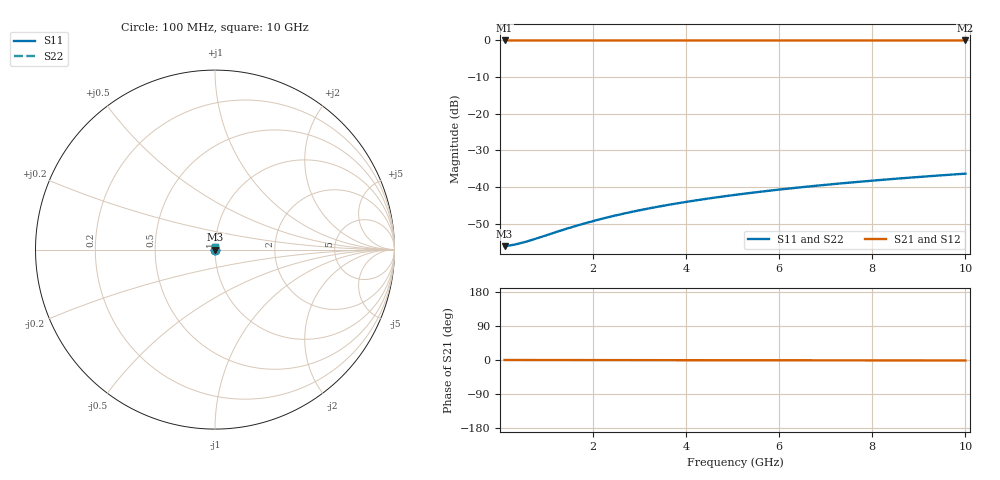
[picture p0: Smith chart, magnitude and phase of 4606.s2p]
# Hz S RI R 50.00
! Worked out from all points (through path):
!   100 points, 100 MHz to 10 GHz, reference 50 ohm
!   highest |S21| = -0.01 dB at 100 MHz (marker M1); lowest = 0.0 dB at 10 GHz (marker M2)
!   lowest |S11| = -56.1 dB at 100 MHz (marker M3), VSWR 1.00, Z = 50.2 + j0.0152 ohm
!   |S11| at or under -10 dB: start of sweep to end of sweep
!   |S22| runs from -56.1 to -36.3 dB; largest |S21 - S12| = 0
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1e8  0.00156 0.000151  0.9984 -0.000219  0.9984 -0.000219  0.00156 0.000151
2e8  0.00157 0.000302  0.9984 -0.000438  0.9984 -0.000438  0.00157 0.000302
3e8  0.00158 0.000453  0.9984 -0.000656  0.9984 -0.000656  0.00158 0.000453
4e8  0.00158 0.000605  0.9984 -0.000875  0.9984 -0.000875  0.00158 0.000605
6e8  0.00159 0.000907  0.9984 -0.00131  0.9984 -0.00131  0.00159 0.000907
8e8  0.0016 0.00121  0.9984 -0.00175  0.9984 -0.00175  0.0016 0.00121
1.4e9  0.00162 0.00212  0.9984 -0.00306  0.9984 -0.00306  0.00162 0.00212
1.8e9  0.00164 0.00272  0.9984 -0.00394  0.9984 -0.00394  0.00164 0.00272
2.2e9  0.00165 0.00333  0.9983 -0.00481  0.9983 -0.00481  0.00165 0.00333
2.6e9  0.00166 0.00393  0.9983 -0.00569  0.9983 -0.00569  0.00166 0.00393
3e9  0.00168 0.00453  0.9983 -0.00656  0.9983 -0.00656  0.00168 0.00453
3.4e9  0.00169 0.00514  0.9983 -0.00744  0.9983 -0.00744  0.00169 0.00514
3.8e9  0.0017 0.00574  0.9983 -0.00831  0.9983 -0.00831  0.0017 0.00574
4.2e9  0.00172 0.00635  0.9983 -0.00919  0.9983 -0.00919  0.00172 0.00635
4.6e9  0.00174 0.00695  0.9983 -0.0101  0.9983 -0.0101  0.00174 0.00695
5.1e9  0.00176 0.00771  0.9982 -0.0112  0.9982 -0.0112  0.00176 0.00771
5.9e9  0.0018 0.00892  0.9982 -0.0129  0.9982 -0.0129  0.0018 0.00892
6.7e9  0.00184 0.0101  0.9981 -0.0147  0.9981 -0.0147  0.00184 0.0101
7.5e9  0.00188 0.0113  0.9981 -0.0164  0.9981 -0.0164  0.00188 0.0113
8.4e9  0.00194 0.0127  0.998 -0.0184  0.998 -0.0184  0.00194 0.0127
9.2e9  0.002 0.0139  0.998 -0.0201  0.998 -0.0201  0.002 0.0139
1e10  0.00205 0.0151  0.9979 -0.0219  0.9979 -0.0219  0.00205 0.0151
